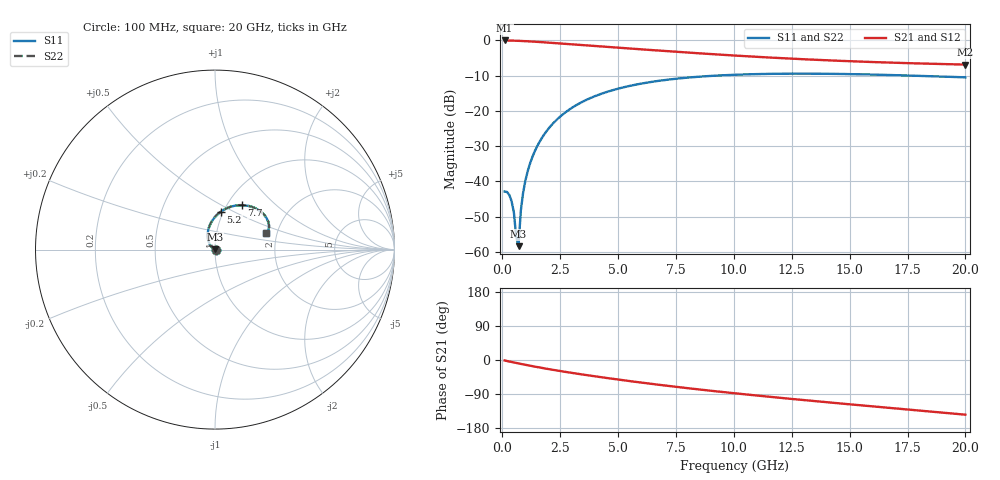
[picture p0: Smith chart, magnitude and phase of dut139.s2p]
! Touchstone file exported from HFSS 2024.1.0
!  File:  C:/UserFiles/LocalFiles/RDL_TSV_Batchsim/temp_RDL_TSV_139_1779429077.aedt
!  Generated:  02:06:53 PM May 22, 2026
!  Design:  RDL_TSV
!  Project:  temp_RDL_TSV_139_1779429077
!  Setup:  Setup1
!  Solution:  Sweep
! Variables:
!  dtsv = 8.79um
!  hbump = 3um
!  htsv = 53.7um
!  ldown = 220.36um
!  lrdl = 383.55um
!  p = 40
!  p1 = 57.39um
!  rhole = 10um
!  subl = 2195.28um
!  t = 450um
!  tdown = 4.82um
!  trdl = 4.26um
!  viad = 10um
!  wdown = 27.6um
!  wrdl = 29.49um
!  xbump = 18um
# GHz S MA R 50.000000
! Terminal data exported
! Port[1] = TM1_1_T1
! Port[2] = TM1_4_T1
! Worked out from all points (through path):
!   200 points, 100 MHz to 20 GHz, reference 50 ohm
!   highest |S21| = -0.07 dB at 100 MHz (marker M1); lowest = -6.9 dB at 20 GHz (marker M2)
!   group delay of S21, straight-line fit = 18.9 ps
!   lowest |S11| = -58.3 dB at 700 MHz (marker M3), VSWR 1.00, Z = 49.9 + j0.0995 ohm
!   |S11| at or under -10 dB: start of sweep to 9.302 GHz; 17.55 GHz to end of sweep
!   |S22| runs from -58.3 to -9.5 dB; largest |S21 - S12| = 1.7e-14
!   S11 on the Smith chart (normalised r, x): 100 MHz: 1.01, +0.00; 5.2 GHz: 0.97, +0.43; 7.7 GHz: 1.17, +0.63; 20 GHz: 1.75, +0.35
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0.1  0.007204 2.6  0.9924 -1.3  0.9924 -1.3  0.007204 2.6
! Gamma 0 0 0 0
! Port Impedance 50 0 50 0
0.3  0.006465 0.1  0.9896 -4.0  0.9896 -4.0  0.006464 0.1
0.4  0.005284 -1.4  0.9877 -5.2  0.9877 -5.2  0.005282 -1.4
0.5  0.003646 -0.9  0.9856 -6.5  0.9856 -6.5  0.003642 -0.9
0.6  0.001661 10.6  0.9831 -7.8  0.9831 -7.8  0.001656 10.7
0.7  0.001212 124.7  0.9803 -9.0  0.9803 -9.0  0.001218 124.9
0.8  0.003851 147.9  0.9772 -10.3  0.9772 -10.3  0.003859 148.0
0.9  0.006957 150.1  0.9738 -11.5  0.9738 -11.5  0.006968 150.1
1  0.01038 149.4  0.9702 -12.7  0.9702 -12.7  0.01039 149.4
1.1  0.01409 147.8  0.9663 -13.9  0.9663 -13.9  0.0141 147.8
1.4  0.02664 141.7  0.9533 -17.4  0.9533 -17.4  0.02666 141.7
1.8  0.04586 133.1  0.9343 -21.9  0.9343 -21.9  0.0459 133.1
2.2  0.06678 124.9  0.9145 -26.1  0.9145 -26.1  0.06684 125.0
2.8  0.09925 113.9  0.8846 -32.1  0.8846 -32.1  0.09934 113.9
3.5  0.1363 102.7  0.851 -38.6  0.851 -38.6  0.1365 102.7
5.2  0.214 81.2  0.7758 -53.2  0.7758 -53.2  0.2142 81.2
6.8  0.2673 65.9  0.7122 -65.7  0.7122 -65.7  0.2676 66.0
7.7  0.2892 58.9  0.6796 -72.2  0.6796 -72.2  0.2896 58.9
10.1  0.3249 43.9  0.6049 -88.2  0.6049 -88.2  0.3253 43.9
13.4  0.3359 29.9  0.5305 -107.9  0.5305 -107.9  0.3364 29.9
16.7  0.322 21.4  0.4824 -126.3  0.4824 -126.3  0.3225 21.5
20  0.298 18.1  0.452 -144.3  0.452 -144.3  0.2986 18.1
